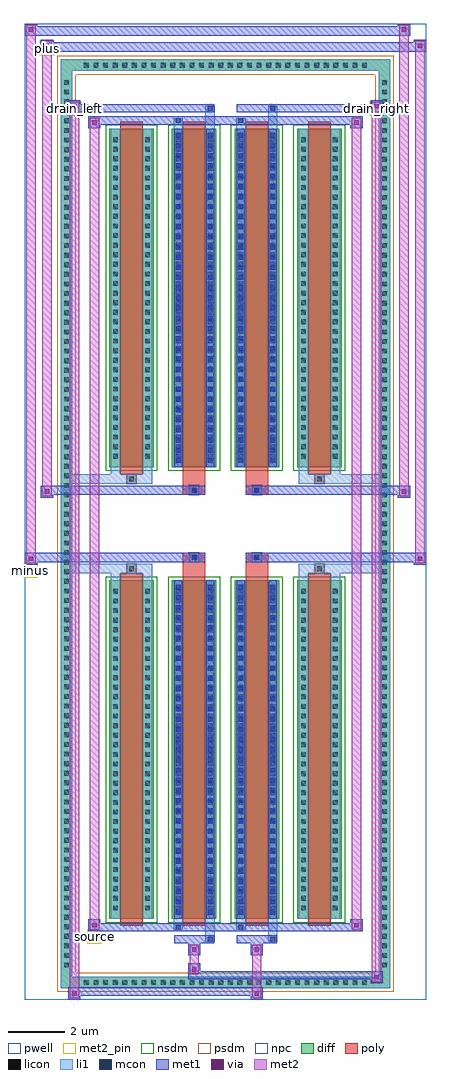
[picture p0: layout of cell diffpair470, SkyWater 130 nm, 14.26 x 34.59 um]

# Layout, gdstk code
import gdstk
lib = gdstk.Library(unit=1e-6, precision=5e-09)
def R(c, l, rs):  # rectangles x0, y0, x1, y1
    for r in rs: c.add(gdstk.rectangle(r[:2], r[2:], *l))
def A(c, l, x, y, w, h, nx, ny, dx, dy):  # array of equal rectangles
    R(c, l, [(x+i*dx, y+j*dy, x+i*dx+w, y+j*dy+h) for i in range(nx) for j in range(ny)])
def P(c, l, *ps):  # polygons
    for p in ps: c.add(gdstk.Polygon(p, *l))
pwell = (64, 44)
diff = (65, 20)
poly = (66, 20)
licon = (66, 44)
li1 = (67, 20)
mcon = (67, 44)
met1 = (68, 20)
via = (68, 44)
met2_pin = (69, 16)
met2 = (69, 20)
nsdm = (93, 44)
psdm = (94, 20)
npc = (95, 20)

diffpair470 = lib.new_cell('diffpair470')
R(diffpair470, pwell, [(-7.11,-16.86,7.11,17.73), (-4.43,-15.05,-0.01,-0.825), (0.01,-15.05,4.43,-0.825), (-4.43,0.825,-0.01,15.05), (0.01,0.825,4.43,15.05)])
A(diffpair470, diff, -5.135, -16.46, 0.41, 0.41, 30, 2, 0.34, 32.51)
A(diffpair470, diff, -5.84, -15.845, 0.41, 0.41, 1, 93, 0, 0.34)
A(diffpair470, diff, 5.43, -15.845, 0.41, 0.41, 1, 93, 0, 0.34)
A(diffpair470, diff, -4.12, -14.005, 1.58, 12, 4, 2, 2.22, 16.01)
R(diffpair470, diff, [(-5.135,-16.46,5.135,-16.05), (-5.84,-15.845,-5.43,15.845), (5.43,-15.845,5.84,15.845), (-5.135,16.05,5.135,16.46)])
P(diffpair470, diff, [(5.84,16.46),(-5.84,16.46),(-5.84,-16.05),(-5.43,-16.05),(-5.43,16.05),(5.43,16.05),(5.43,-16.05),(-5.43,-16.05),(-5.84,-16.05),(-5.84,-16.46),(5.84,-16.46)])
A(diffpair470, poly, -3.73, -14.255, 0.8, 12.5, 4, 2, 2.22, 16.01)
R(diffpair470, poly, [(-3.495,-1.755,-3.165,-1.425), (-3.495,-1.755,-3.165,-1.425), (-1.51,-1.755,-0.71,-1.355), (0.71,-1.755,1.51,-1.355), (3.165,-1.755,3.495,-1.425), (3.165,-1.755,3.495,-1.425), (-1.51,-1.355,-0.71,-1.025), (-1.275,-1.355,-0.945,-1.025), (0.71,-1.355,1.51,-1.025), (0.945,-1.355,1.275,-1.025), (-1.51,1.025,-0.71,1.355), (-1.275,1.025,-0.945,1.355), (0.71,1.025,1.51,1.355), (0.945,1.025,1.275,1.355), (-1.51,1.355,-0.71,1.755), (0.71,1.355,1.51,1.755), (-3.495,1.425,-3.165,1.755), (-3.495,1.425,-3.165,1.755), (3.165,1.425,3.495,1.755), (3.165,1.425,3.495,1.755)])
A(diffpair470, licon, -5.015, -16.34, 0.17, 0.17, 30, 2, 0.34, 32.51)
A(diffpair470, licon, -5.72, -15.725, 0.17, 0.17, 1, 93, 0, 0.34)
A(diffpair470, licon, 5.55, -15.725, 0.17, 0.17, 1, 93, 0, 0.34)
A(diffpair470, licon, -3.98, -13.7, 0.17, 0.17, 1, 34, 0, 0.34)
A(diffpair470, licon, -2.85, -13.7, 0.17, 0.17, 1, 34, 0, 0.34)
A(diffpair470, licon, -1.76, -13.7, 0.17, 0.17, 1, 34, 0, 0.34)
A(diffpair470, licon, -0.63, -13.7, 0.17, 0.17, 1, 34, 0, 0.34)
A(diffpair470, licon, 0.46, -13.7, 0.17, 0.17, 1, 34, 0, 0.34)
A(diffpair470, licon, 1.59, -13.7, 0.17, 0.17, 1, 34, 0, 0.34)
A(diffpair470, licon, 2.68, -13.7, 0.17, 0.17, 1, 34, 0, 0.34)
A(diffpair470, licon, 3.81, -13.7, 0.17, 0.17, 1, 34, 0, 0.34)
A(diffpair470, licon, -3.98, 2.31, 0.17, 0.17, 1, 34, 0, 0.34)
A(diffpair470, licon, -2.85, 2.31, 0.17, 0.17, 1, 34, 0, 0.34)
A(diffpair470, licon, -1.76, 2.31, 0.17, 0.17, 1, 34, 0, 0.34)
A(diffpair470, licon, -0.63, 2.31, 0.17, 0.17, 1, 34, 0, 0.34)
A(diffpair470, licon, 0.46, 2.31, 0.17, 0.17, 1, 34, 0, 0.34)
A(diffpair470, licon, 1.59, 2.31, 0.17, 0.17, 1, 34, 0, 0.34)
A(diffpair470, licon, 2.68, 2.31, 0.17, 0.17, 1, 34, 0, 0.34)
A(diffpair470, licon, 3.81, 2.31, 0.17, 0.17, 1, 34, 0, 0.34)
R(diffpair470, licon, [(-3.415,-1.675,-3.245,-1.505), (3.245,-1.675,3.415,-1.505), (-1.195,-1.275,-1.025,-1.105), (1.025,-1.275,1.195,-1.105), (-1.195,1.105,-1.025,1.275), (1.025,1.105,1.195,1.275), (-3.415,1.505,-3.245,1.675), (3.245,1.505,3.415,1.675)])
A(diffpair470, li1, -5.095, -16.42, 0.33, 0.33, 30, 2, 0.34, 32.51)
A(diffpair470, li1, -5.8, -15.805, 0.33, 0.33, 1, 93, 0, 0.34)
A(diffpair470, li1, 5.47, -15.805, 0.33, 0.33, 1, 93, 0, 0.34)
A(diffpair470, li1, -1.76, -13.85, 0.17, 0.17, 1, 33, 0, 0.36)
A(diffpair470, li1, -0.63, -13.85, 0.17, 0.17, 1, 33, 0, 0.36)
A(diffpair470, li1, 0.46, -13.85, 0.17, 0.17, 1, 33, 0, 0.36)
A(diffpair470, li1, 1.59, -13.85, 0.17, 0.17, 1, 33, 0, 0.36)
A(diffpair470, li1, -4.06, -13.78, 0.33, 0.33, 1, 34, 0, 0.34)
A(diffpair470, li1, -2.93, -13.78, 0.33, 0.33, 1, 34, 0, 0.34)
A(diffpair470, li1, -1.84, -13.78, 0.33, 0.33, 1, 34, 0, 0.34)
A(diffpair470, li1, -0.71, -13.78, 0.33, 0.33, 1, 34, 0, 0.34)
A(diffpair470, li1, 0.38, -13.78, 0.33, 0.33, 1, 34, 0, 0.34)
A(diffpair470, li1, 1.51, -13.78, 0.33, 0.33, 1, 34, 0, 0.34)
A(diffpair470, li1, 2.6, -13.78, 0.33, 0.33, 1, 34, 0, 0.34)
A(diffpair470, li1, 3.73, -13.78, 0.33, 0.33, 1, 34, 0, 0.34)
A(diffpair470, li1, -1.76, 2.16, 0.17, 0.17, 1, 33, 0, 0.36)
A(diffpair470, li1, -0.63, 2.16, 0.17, 0.17, 1, 33, 0, 0.36)
A(diffpair470, li1, 0.46, 2.16, 0.17, 0.17, 1, 33, 0, 0.36)
A(diffpair470, li1, 1.59, 2.16, 0.17, 0.17, 1, 33, 0, 0.36)
A(diffpair470, li1, -4.06, 2.23, 0.33, 0.33, 1, 34, 0, 0.34)
A(diffpair470, li1, -2.93, 2.23, 0.33, 0.33, 1, 34, 0, 0.34)
A(diffpair470, li1, -1.84, 2.23, 0.33, 0.33, 1, 34, 0, 0.34)
A(diffpair470, li1, -0.71, 2.23, 0.33, 0.33, 1, 34, 0, 0.34)
A(diffpair470, li1, 0.38, 2.23, 0.33, 0.33, 1, 34, 0, 0.34)
A(diffpair470, li1, 1.51, 2.23, 0.33, 0.33, 1, 34, 0, 0.34)
A(diffpair470, li1, 2.6, 2.23, 0.33, 0.33, 1, 34, 0, 0.34)
A(diffpair470, li1, 3.73, 2.23, 0.33, 0.33, 1, 34, 0, 0.34)
R(diffpair470, li1, [(-5.84,-16.46,-5.43,-16.05), (-5.84,-16.46,-5.43,-16.05), (-5.43,-16.46,5.43,-16.05), (5.43,-16.46,5.84,-16.05), (5.43,-16.46,5.84,-16.05), (-5.84,-16.05,-5.43,16.05), (5.43,-16.05,5.84,16.05), (-0.71,-14.81,-0.38,-14.005), (-0.63,-14.81,-0.46,-14.64), (1.51,-14.81,1.84,-14.005), (1.59,-14.81,1.76,-14.64), (-1.84,-14.38,-1.51,-14.005), (-1.76,-14.38,-1.59,-14.21), (0.38,-14.38,0.71,-14.005), (0.46,-14.38,0.63,-14.21), (-4.06,-14.005,-3.73,-2.005), (-2.93,-14.005,-2.6,-2.005), (-1.84,-14.005,-1.51,-2.005), (-0.71,-14.005,-0.38,-2.005), (0.38,-14.005,0.71,-2.005), (1.51,-14.005,1.84,-2.005), (2.6,-14.005,2.93,-2.005), (3.73,-14.005,4.06,-2.005), (-1.76,-13.85,-1.59,-2.16), (-0.63,-13.85,-0.46,-2.16), (0.46,-13.85,0.63,-2.16), (1.59,-13.85,1.76,-2.16), (-4.06,-2.005,-3.73,-1.425), (-2.93,-2.005,-2.6,-1.425), (2.6,-2.005,2.93,-1.425), (3.73,-2.005,4.06,-1.425), (-5.84,-1.755,-3.495,-1.425), (-4.06,-1.755,-3.495,-1.425), (-3.495,-1.755,-3.165,-1.425), (-3.165,-1.755,-2.6,-1.425), (2.6,-1.755,3.165,-1.425), (3.165,-1.755,3.495,-1.425), (3.165,-1.755,5.84,-1.425), (3.495,-1.755,4.06,-1.425), (-1.275,-1.355,-0.945,-1.025), (0.945,-1.355,1.275,-1.025), (-1.275,1.025,-0.945,1.355), (0.945,1.025,1.275,1.355), (-5.84,1.425,-3.495,1.755), (-4.06,1.425,-3.495,1.755), (-4.06,1.425,-3.73,2.005), (-3.495,1.425,-3.165,1.755), (-3.165,1.425,-2.6,1.755), (-2.93,1.425,-2.6,2.005), (2.6,1.425,3.165,1.755), (2.6,1.425,2.93,2.005), (3.165,1.425,3.495,1.755), (3.165,1.425,5.84,1.755), (3.495,1.425,4.06,1.755), (3.73,1.425,4.06,2.005), (-4.06,2.005,-3.73,14.005), (-2.93,2.005,-2.6,14.005), (-1.84,2.005,-1.51,14.005), (-0.71,2.005,-0.38,14.005), (0.38,2.005,0.71,14.005), (1.51,2.005,1.84,14.005), (2.6,2.005,2.93,14.005), (3.73,2.005,4.06,14.005), (-1.76,2.16,-1.59,13.85), (-0.63,2.16,-0.46,13.85), (0.46,2.16,0.63,13.85), (1.59,2.16,1.76,13.85), (-1.84,14.005,-1.51,14.38), (-0.71,14.005,-0.38,14.81), (0.38,14.005,0.71,14.38), (1.51,14.005,1.84,14.81), (-1.76,14.21,-1.59,14.38), (0.46,14.21,0.63,14.38), (-0.63,14.64,-0.46,14.81), (1.59,14.64,1.76,14.81), (-5.84,16.05,-5.43,16.46), (-5.84,16.05,-5.43,16.46), (-5.43,16.05,5.43,16.46), (5.43,16.05,5.84,16.46), (5.43,16.05,5.84,16.46)])
A(diffpair470, mcon, -1.76, -13.85, 0.17, 0.17, 1, 33, 0, 0.36)
A(diffpair470, mcon, -0.63, -13.85, 0.17, 0.17, 1, 33, 0, 0.36)
A(diffpair470, mcon, 0.46, -13.85, 0.17, 0.17, 1, 33, 0, 0.36)
A(diffpair470, mcon, 1.59, -13.85, 0.17, 0.17, 1, 33, 0, 0.36)
A(diffpair470, mcon, -1.76, 2.16, 0.17, 0.17, 1, 33, 0, 0.36)
A(diffpair470, mcon, -0.63, 2.16, 0.17, 0.17, 1, 33, 0, 0.36)
A(diffpair470, mcon, 0.46, 2.16, 0.17, 0.17, 1, 33, 0, 0.36)
A(diffpair470, mcon, 1.59, 2.16, 0.17, 0.17, 1, 33, 0, 0.36)
R(diffpair470, mcon, [(-0.63,-14.81,-0.46,-14.64), (1.59,-14.81,1.76,-14.64), (-1.76,-14.38,-1.59,-14.21), (0.46,-14.38,0.63,-14.21), (-1.195,-1.275,-1.025,-1.105), (1.025,-1.275,1.195,-1.105), (-1.195,1.105,-1.025,1.275), (1.025,1.105,1.195,1.275), (-1.76,14.21,-1.59,14.38), (0.46,14.21,0.63,14.38), (-0.63,14.64,-0.46,14.81), (1.59,14.64,1.76,14.81)])
A(diffpair470, met1, -1.82, -13.91, 0.29, 0.29, 1, 33, 0, 0.36)
A(diffpair470, met1, -0.69, -13.91, 0.29, 0.29, 1, 33, 0, 0.36)
A(diffpair470, met1, 0.4, -13.91, 0.29, 0.29, 1, 33, 0, 0.36)
A(diffpair470, met1, 1.53, -13.91, 0.29, 0.29, 1, 33, 0, 0.36)
A(diffpair470, met1, -1.82, 2.1, 0.29, 0.29, 1, 33, 0, 0.36)
A(diffpair470, met1, -0.69, 2.1, 0.29, 0.29, 1, 33, 0, 0.36)
A(diffpair470, met1, 0.4, 2.1, 0.29, 0.29, 1, 33, 0, 0.36)
A(diffpair470, met1, 1.53, 2.1, 0.29, 0.29, 1, 33, 0, 0.36)
R(diffpair470, met1, [(-5.57,-16.86,-5.14,-16.43), (0.895,-16.86,1.325,-16.43), (-5.57,-16.72,1.325,-16.43), (5.14,-16.29,5.57,-15.86), (-1.325,-16.15,5.57,-15.86), (-1.325,-16.01,-0.895,-15.58), (-1.325,-15.3,-0.895,-14.87), (0.895,-15.3,1.325,-14.87), (-1.82,-14.87,-0.4,-14.58), (-0.69,-14.87,-0.4,-14.58), (0.4,-14.87,1.82,-14.58), (1.53,-14.87,1.82,-14.58), (-4.86,-14.44,-4.43,-14.01), (-4.86,-14.44,-1.82,-14.15), (-1.82,-14.44,-1.53,-14.15), (-1.82,-14.44,-0.4,-14.15), (-0.4,-14.44,0.4,-14.15), (0.4,-14.44,0.69,-14.15), (0.4,-14.44,1.82,-14.15), (1.82,-14.44,4.86,-14.15), (4.43,-14.44,4.86,-14.01), (-1.82,-14.005,-1.53,-2.005), (-0.69,-14.005,-0.4,-2.005), (0.4,-14.005,0.69,-2.005), (1.53,-14.005,1.82,-2.005), (-7.11,-1.455,-6.68,-1.025), (6.68,-1.455,7.11,-1.025), (-7.11,-1.355,-0.71,-1.025), (-1.51,-1.355,-0.71,-1.025), (0.71,-1.355,1.51,-1.025), (0.71,-1.355,7.11,-1.025), (-1.255,-1.335,-0.965,-1.045), (0.965,-1.335,1.255,-1.045), (-6.54,0.925,-6.11,1.355), (6.11,0.925,6.54,1.355), (-6.54,1.025,-1.51,1.355), (-1.51,1.025,-0.71,1.355), (0.71,1.025,1.51,1.355), (1.51,1.025,6.54,1.355), (-1.255,1.045,-0.965,1.335), (0.965,1.045,1.255,1.335), (-1.82,2.005,-1.53,14.005), (-0.69,2.005,-0.4,14.005), (0.4,2.005,0.69,14.005), (1.53,2.005,1.82,14.005), (-4.86,14.01,-4.43,14.44), (4.43,14.01,4.86,14.44), (-4.86,14.15,-1.82,14.44), (-1.82,14.15,-1.53,14.44), (-1.82,14.15,-0.4,14.44), (-0.4,14.15,0.4,14.44), (0.4,14.15,0.69,14.44), (0.4,14.15,1.82,14.44), (1.82,14.15,4.86,14.44), (-5.57,14.58,-5.14,15.01), (-5.57,14.58,-1.82,14.87), (-1.82,14.58,-0.4,14.87), (-0.69,14.58,-0.4,14.87), (0.4,14.58,1.82,14.87), (1.53,14.58,1.82,14.87), (1.82,14.58,5.57,14.87), (5.14,14.58,5.57,15.01), (-6.54,16.73,-6.11,17.16), (-6.54,16.73,-4.43,17.06), (-4.43,16.73,4.43,17.06), (4.43,16.73,7.11,17.06), (6.68,16.73,7.11,17.16), (-7.11,17.3,-6.68,17.73), (-7.11,17.3,-4.43,17.63), (-4.43,17.3,4.43,17.63), (4.43,17.3,6.54,17.63), (6.11,17.3,6.54,17.73)])
R(diffpair470, via, [(-5.43,-16.72,-5.28,-16.57), (1.035,-16.72,1.185,-16.57), (5.28,-16.15,5.43,-16), (-1.185,-15.87,-1.035,-15.72), (-1.185,-15.16,-1.035,-15.01), (1.035,-15.16,1.185,-15.01), (-4.72,-14.3,-4.57,-14.15), (4.57,-14.3,4.72,-14.15), (-6.97,-1.315,-6.82,-1.165), (6.82,-1.315,6.97,-1.165), (-6.4,1.065,-6.25,1.215), (6.25,1.065,6.4,1.215), (-4.72,14.15,-4.57,14.3), (4.57,14.15,4.72,14.3), (-5.43,14.72,-5.28,14.87), (5.28,14.72,5.43,14.87), (-6.4,16.87,-6.25,17.02), (6.82,16.87,6.97,17.02), (-6.97,17.44,-6.82,17.59), (6.25,17.44,6.4,17.59)])
R(diffpair470, met2_pin, [(-4.895,-14.89,-4.395,-14.39), (-7.145,-1.905,-6.645,-1.405), (-5.605,14.46,-5.105,14.96), (5.105,14.46,5.605,14.96), (-6.575,16.61,-6.075,17.11)])
R(diffpair470, met2, [(-5.52,-16.81,-5.19,-16.48), (-5.52,-16.81,-5.19,14.96), (0.945,-16.81,1.275,-16.48), (0.945,-16.48,1.275,-15.25), (5.19,-16.24,5.52,-15.91), (5.19,-16.24,5.52,14.96), (-1.275,-15.96,-0.945,-15.63), (-1.275,-15.63,-0.945,-15.25), (-1.275,-15.25,-0.945,-14.92), (0.945,-15.25,1.275,-14.92), (-4.81,-14.39,-4.48,-14.06), (-4.81,-14.39,-4.48,14.39), (4.48,-14.39,4.81,-14.06), (4.48,-14.39,4.81,14.39), (-7.06,-1.405,-6.73,-1.075), (-7.06,-1.405,-6.73,17.68), (6.73,-1.405,7.06,-1.075), (6.73,-1.405,7.06,17.11), (-6.49,0.975,-6.16,1.305), (-6.49,0.975,-6.16,17.11), (6.16,0.975,6.49,1.305), (6.16,0.975,6.49,17.68), (-4.81,14.06,-4.48,14.39), (4.48,14.06,4.81,14.39), (-5.52,14.63,-5.19,14.96), (5.19,14.63,5.52,14.96), (-6.49,16.78,-6.16,17.11), (6.73,16.78,7.06,17.11), (-7.06,17.35,-6.73,17.68), (6.16,17.35,6.49,17.68)])
P(diffpair470, met2, [(7.06,-1.405),(7.06,-1.405),(7.06,-1.075),(7.06,-1.075)],
  [(7.06,16.78),(7.06,16.78),(7.06,17.11),(7.06,17.11)],
  [(-6.73,-1.405),(-6.73,-1.405),(-6.73,-1.075),(-6.73,-1.075)],
  [(-6.73,17.35),(-6.73,17.35),(-6.73,17.68),(-6.73,17.68)],
  [(6.49,0.975),(6.49,0.975),(6.49,1.305),(6.49,1.305)],
  [(6.49,17.35),(6.49,17.35),(6.49,17.68),(6.49,17.68)],
  [(-6.16,0.975),(-6.16,0.975),(-6.16,1.305),(-6.16,1.305)],
  [(-6.16,16.78),(-6.16,16.78),(-6.16,17.11),(-6.16,17.11)],
  [(-5.19,-16.81),(-5.19,-16.81),(-5.19,-16.48),(-5.19,-16.48)],
  [(-5.19,14.63),(-5.19,14.63),(-5.19,14.96),(-5.19,14.96)],
  [(5.52,-16.24),(5.52,-16.24),(5.52,-15.91),(5.52,-15.91)],
  [(5.52,14.63),(5.52,14.63),(5.52,14.96),(5.52,14.96)],
  [(-4.48,-14.39),(-4.48,-14.39),(-4.48,-14.06),(-4.48,-14.06)],
  [(-4.48,14.06),(-4.48,14.06),(-4.48,14.39),(-4.48,14.39)],
  [(4.81,-14.39),(4.81,-14.39),(4.81,-14.06),(4.81,-14.06)],
  [(4.81,14.06),(4.81,14.06),(4.81,14.39),(4.81,14.39)])
A(diffpair470, nsdm, -4.25, -14.135, 1.84, 12.26, 4, 2, 2.22, 16.01)
P(diffpair470, psdm, [(5.97,16.59),(-5.97,16.59),(-5.97,-15.92),(-5.3,-15.92),(-5.3,15.92),(5.3,15.92),(5.3,-15.92),(-5.3,-15.92),(-5.97,-15.92),(-5.97,-16.59),(5.97,-16.59)])
R(diffpair470, npc, [(-3.515,-1.775,-3.145,-1.405), (3.145,-1.775,3.515,-1.405), (-1.295,-1.375,-0.925,-1.005), (0.925,-1.375,1.295,-1.005), (-1.295,1.005,-0.925,1.375), (0.925,1.005,1.295,1.375), (-3.515,1.405,-3.145,1.775), (3.145,1.405,3.515,1.775)])
diffpair470.add(gdstk.Label('minus', (-6.895,-1.655), layer=69, texttype=5))
diffpair470.add(gdstk.Label('drain_right', (5.355,14.71), layer=69, texttype=5))
diffpair470.add(gdstk.Label('drain_left', (-5.355,14.71), layer=69, texttype=5))
diffpair470.add(gdstk.Label('source', (-4.645,-14.64), layer=69, texttype=5))
diffpair470.add(gdstk.Label('plus', (-6.325,16.86), layer=69, texttype=5))

lib.write_gds('diffpair470.gds')
